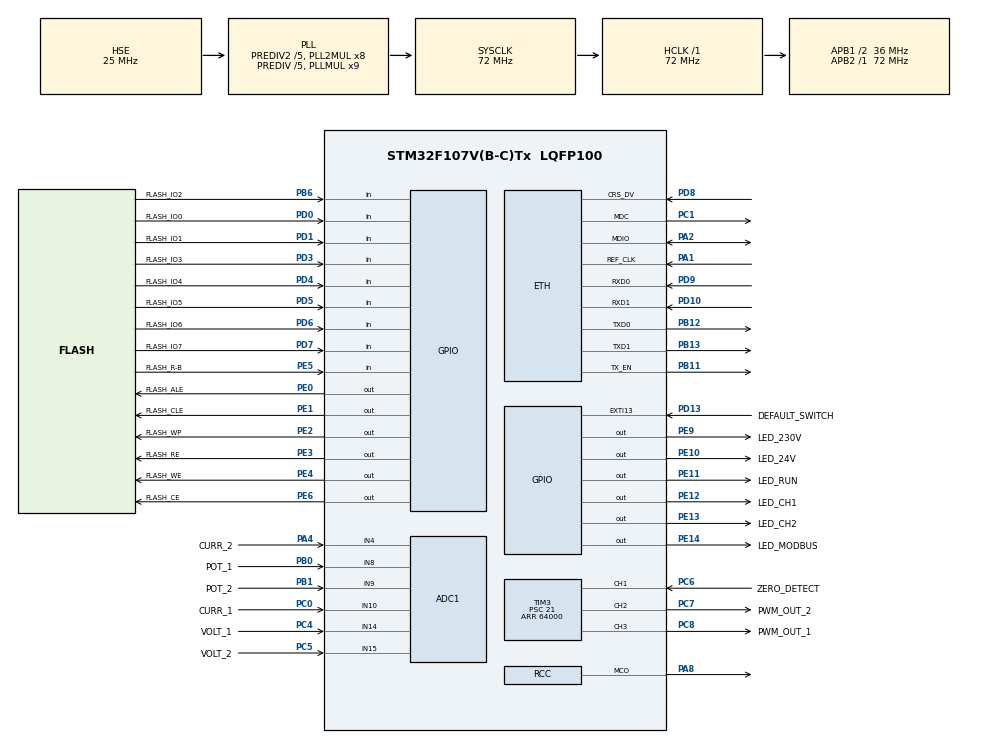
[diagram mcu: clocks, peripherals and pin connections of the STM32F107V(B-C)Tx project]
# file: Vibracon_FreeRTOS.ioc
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ADC1.Channel-0\#ChannelRegularConversion=ADC_CHANNEL_8
ADC1.Channel-1\#ChannelRegularConversion=ADC_CHANNEL_9
ADC1.Channel-2\#ChannelRegularConversion=ADC_CHANNEL_14
ADC1.Channel-3\#ChannelRegularConversion=ADC_CHANNEL_15
ADC1.Channel-4\#ChannelRegularConversion=ADC_CHANNEL_10
ADC1.Channel-5\#ChannelRegularConversion=ADC_CHANNEL_4
ADC1.Channel-6\#ChannelRegularConversion=ADC_CHANNEL_TEMPSENSOR
ADC1.ContinuousConvMode=ENABLE
ADC1.DataAlign=ADC_DATAALIGN_RIGHT
ADC1.DiscontinuousConvMode=DISABLE
ADC1.EnableAnalogWatchDog=false
ADC1.EnableRegularConversion=ENABLE
ADC1.ExternalTrigConvEdgeChoice=NONE
ADC1.InjNumberOfConversion=0
ADC1.NbrOfConversion=7
ADC1.NbrOfConversionFlag=1
ADC1.Rank-0\#ChannelRegularConversion=1
ADC1.Rank-1\#ChannelRegularConversion=2
ADC1.Rank-2\#ChannelRegularConversion=3
ADC1.Rank-3\#ChannelRegularConversion=4
ADC1.Rank-4\#ChannelRegularConversion=5
ADC1.Rank-5\#ChannelRegularConversion=6
ADC1.Rank-6\#ChannelRegularConversion=7
ADC1.SamplingTime-0\#ChannelRegularConversion=ADC_SAMPLETIME_239CYCLES_5
ADC1.SamplingTime-1\#ChannelRegularConversion=ADC_SAMPLETIME_239CYCLES_5
ADC1.SamplingTime-2\#ChannelRegularConversion=ADC_SAMPLETIME_239CYCLES_5
ADC1.SamplingTime-3\#ChannelRegularConversion=ADC_SAMPLETIME_239CYCLES_5
ADC1.SamplingTime-4\#ChannelRegularConversion=ADC_SAMPLETIME_239CYCLES_5
ADC1.SamplingTime-5\#ChannelRegularConversion=ADC_SAMPLETIME_239CYCLES_5
ADC1.SamplingTime-6\#ChannelRegularConversion=ADC_SAMPLETIME_239CYCLES_5
ADC1.ScanConvMode=ADC_SCAN_ENABLE
ADC1.master=1
Dma.ADC1.0.Direction=DMA_PERIPH_TO_MEMORY
Dma.ADC1.0.Instance=DMA1_Channel1
Dma.ADC1.0.MemDataAlignment=DMA_MDATAALIGN_HALFWORD
Dma.ADC1.0.MemInc=DMA_MINC_ENABLE
Dma.ADC1.0.Mode=DMA_CIRCULAR
Dma.ADC1.0.PeriphDataAlignment=DMA_PDATAALIGN_HALFWORD
Dma.ADC1.0.PeriphInc=DMA_PINC_DISABLE
Dma.ADC1.0.Priority=DMA_PRIORITY_MEDIUM
Dma.Request0=ADC1
ETH.MediaInterface=ETH_MEDIA_INTERFACE_RMII
FREERTOS.Tasks01=defaultTask,0,128,StartDefaultTask;PWMTask,-2,128,PWMTaskBody;LEDTask,-2,128,LEDTaskBody
FREERTOS.configCHECK_FOR_STACK_OVERFLOW=2
FREERTOS.configTOTAL_HEAP_SIZE=25088
LWIP.GATEWAY_ADDRESS=192.168.001.001
LWIP.IP_ADDRESS=192.168.001.030
LWIP.LWIP_DHCP=0
LWIP.MEMP_NUM_TCP_PCB=10
LWIP.MEMP_NUM_TCP_PCB_LISTEN=10
LWIP.MEM_SIZE=2000
LWIP.NETMASK_ADDRESS=255.255.255.000
LWIP.PBUF_POOL_BUFSIZE=592
LWIP.TCPIP_MBOX_SIZE=0
LWIP.TCPIP_THREAD_PRIO=1
LWIP.Version=v1.4.1_Cube
Mcu.Family=STM32F1
Mcu.Name=STM32F107V(B-C)Tx
Mcu.Package=LQFP100
NVIC.DMA1_Channel1_IRQn=true\:5\:0\:false\:false\:true\:true
NVIC.ETH_IRQn=true\:5\:0\:false\:false\:true\:true
NVIC.EXTI15_10_IRQn=true\:5\:0\:false\:false\:true\:true
NVIC.PriorityGroup=NVIC_PRIORITYGROUP_4
NVIC.TIM7_IRQn=true\:0\:0\:false\:false\:true\:false
NVIC.TimeBase=TIM7_IRQn
NVIC.TimeBaseIP=TIM7
OSC_IN.Mode=HSE-External-Oscillator
OSC_IN.Signal=RCC_OSC_IN
OSC_OUT.Mode=HSE-External-Oscillator
OSC_OUT.Signal=RCC_OSC_OUT
PA1.Mode=RMII
PA1.Signal=ETH_REF_CLK
PA13.Mode=JTAG_5_pins
PA13.Signal=SYS_JTMS-SWDIO
PA14.Mode=JTAG_5_pins
PA14.Signal=SYS_JTCK-SWCLK
PA15.Mode=JTAG_5_pins
PA15.Signal=SYS_JTDI
PA2.Mode=RMII
PA2.Signal=ETH_MDIO
PA4.GPIO_Label=CURR_2
PA4.Signal=ADCx_IN4
PA8.GPIO_Speed=GPIO_SPEED_HIGH
PA8.Mode=Clock-out
PA8.Signal=RCC_MCO
PB0.GPIO_Label=POT_1
PB0.Signal=ADCx_IN8
PB1.GPIO_Label=POT_2
PB1.Signal=ADCx_IN9
PB11.Mode=RMII
PB11.Signal=ETH_TX_EN
PB12.Mode=RMII
PB12.Signal=ETH_TXD0
PB13.Mode=RMII
PB13.Signal=ETH_TXD1
PB3.Mode=JTAG_5_pins
PB3.Signal=SYS_JTDO
PB4.Mode=JTAG_5_pins
PB4.Signal=SYS_NJTRST
PB6.GPIO_Label=FLASH_IO2
PB6.GPIO_PuPd=GPIO_PULLUP
PB6.Signal=GPIO_Input
PC0.GPIO_Label=CURR_1
PC0.Signal=ADCx_IN10
PC1.Mode=RMII
PC1.Signal=ETH_MDC
PC4.GPIO_Label=VOLT_1
PC4.Signal=ADCx_IN14
PC5.GPIO_Label=VOLT_2
PC5.Signal=ADCx_IN15
PC6.GPIO_Label=ZERO_DETECT
PC6.Signal=S_TIM3_CH1
PC7.GPIO_Label=PWM_OUT_2
PC7.GPIO_Speed=GPIO_SPEED_HIGH
PC7.Signal=S_TIM3_CH2
PC8.GPIO_Label=PWM_OUT_1
PC8.GPIO_Speed=GPIO_SPEED_HIGH
PC8.Signal=S_TIM3_CH3
PD0.GPIO_Label=FLASH_IO0
PD0.GPIO_PuPd=GPIO_PULLUP
PD0.Signal=GPIO_Input
PD1.GPIO_Label=FLASH_IO1
PD1.GPIO_PuPd=GPIO_PULLUP
PD1.Signal=GPIO_Input
PD10.Mode=RMII
PD10.Signal=ETH_RXD1
PD13.GPIO_Label=DEFAULT_SWITCH
PD13.GPIO_ModeDefaultEXTI=GPIO_MODE_IT_RISING_FALLING
PD13.Signal=GPXTI13
PD3.GPIO_Label=FLASH_IO3
PD3.GPIO_PuPd=GPIO_PULLUP
PD3.Signal=GPIO_Input
PD4.GPIO_Label=FLASH_IO4
PD4.GPIO_PuPd=GPIO_PULLUP
PD4.Signal=GPIO_Input
PD5.GPIO_Label=FLASH_IO5
PD5.GPIO_PuPd=GPIO_PULLUP
PD5.Signal=GPIO_Input
PD6.GPIO_Label=FLASH_IO6
PD6.GPIO_PuPd=GPIO_PULLUP
PD6.Signal=GPIO_Input
PD7.GPIO_Label=FLASH_IO7
PD7.GPIO_PuPd=GPIO_PULLUP
PD7.Signal=GPIO_Input
PD8.Mode=RMII
PD8.Signal=ETH_CRS_DV
PD9.Mode=RMII
PD9.Signal=ETH_RXD0
PE0.GPIO_Label=FLASH_ALE
PE0.Signal=GPIO_Output
PE1.GPIO_Label=FLASH_CLE
PE1.Signal=GPIO_Output
PE10.GPIO_Label=LED_24V
PE10.GPIO_ModeDefaultOutputPP=GPIO_MODE_OUTPUT_OD
PE10.GPIO_Speed=GPIO_SPEED_LOW
PE10.Signal=GPIO_Output
PE11.GPIO_Label=LED_RUN
PE11.GPIO_ModeDefaultOutputPP=GPIO_MODE_OUTPUT_OD
PE11.GPIO_Speed=GPIO_SPEED_LOW
PE11.Signal=GPIO_Output
PE12.GPIO_Label=LED_CH1
PE12.GPIO_ModeDefaultOutputPP=GPIO_MODE_OUTPUT_OD
PE12.GPIO_Speed=GPIO_SPEED_LOW
PE12.Signal=GPIO_Output
PE13.GPIO_Label=LED_CH2
PE13.GPIO_ModeDefaultOutputPP=GPIO_MODE_OUTPUT_OD
PE13.GPIO_Speed=GPIO_SPEED_LOW
PE13.Signal=GPIO_Output
PE14.GPIO_Label=LED_MODBUS
PE14.GPIO_ModeDefaultOutputPP=GPIO_MODE_OUTPUT_OD
PE14.GPIO_Speed=GPIO_SPEED_LOW
PE14.Signal=GPIO_Output
PE2.GPIO_Label=FLASH_WP
PE2.Signal=GPIO_Output
PE3.GPIO_Label=FLASH_RE
PE3.Signal=GPIO_Output
PE4.GPIO_Label=FLASH_WE
PE4.Signal=GPIO_Output
PE5.GPIO_Label=FLASH_R-B
PE5.GPIO_PuPd=GPIO_PULLUP
PE5.Signal=GPIO_Input
PE6.GPIO_Label=FLASH_CE
PE6.Signal=GPIO_Output
PE9.GPIO_Label=LED_230V
PE9.GPIO_ModeDefaultOutputPP=GPIO_MODE_OUTPUT_OD
PE9.GPIO_Speed=GPIO_SPEED_LOW
PE9.Signal=GPIO_Output
ProjectManager.HeapSize=0x200
ProjectManager.StackSize=0x600
ProjectManager.TargetToolchain=SW4STM32
RCC.ADCPresc=RCC_ADCPCLK2_DIV6
RCC.AHBFreq_Value=72000000
RCC.APB1CLKDivider=RCC_HCLK_DIV2
RCC.APB1Freq_Value=36000000
RCC.APB1TimFreq_Value=72000000
RCC.APB2Freq_Value=72000000
RCC.APB2TimFreq_Value=72000000
RCC.EnbaleCSS=true
RCC.HCLKFreq_Value=72000000
RCC.HSEDivPLL=RCC_HSE_PREDIV_DIV5
RCC.HSE_VALUE=25000000
RCC.HSIState=RCC_HSI_ON
RCC.PLL3Mul=RCC_PLLI2S_MUL10
RCC.PLLMUL=RCC_PLL_MUL9
RCC.PLLSourceVirtual=RCC_PLLSOURCE_HSE
RCC.Prediv1Source=RCC_PREDIV1_SOURCE_PLL2
RCC.Prediv2=RCC_HSE_PREDIV2_DIV5
RCC.RCC_MCOSource=RCC_MCO1SOURCE_PLL3CLK
RCC.SYSCLKFreq_VALUE=72000000
RCC.SYSCLKSource=RCC_SYSCLKSOURCE_PLLCLK
RCC.USBFreq_Value=48000000
RTC.Hours=12
RTC.Month=RTC_MONTH_JANUARY
RTC.WeekDay=RTC_WEEKDAY_MONDAY
RTC.Year=16
SH.ADCx_IN10.0=ADC1_IN10,IN10
SH.ADCx_IN14.0=ADC1_IN14,IN14
SH.ADCx_IN15.0=ADC1_IN15,IN15
SH.ADCx_IN4.0=ADC1_IN4,IN4
SH.ADCx_IN8.0=ADC1_IN8,IN8
SH.ADCx_IN9.0=ADC1_IN9,IN9
SH.S_TIM3_CH1.0=TIM3_CH1,TriggerSource_TI1FP1
SH.S_TIM3_CH2.0=TIM3_CH2,PWM Generation2 CH2
SH.S_TIM3_CH3.0=TIM3_CH3,PWM Generation3 CH3
TIM3.Channel-PWM\ Generation2\ CH2=TIM_CHANNEL_2
TIM3.Channel-PWM\ Generation3\ CH3=TIM_CHANNEL_3
TIM3.OCMode_PWM-PWM\ Generation2\ CH2=TIM_OCMODE_PWM2
TIM3.OCMode_PWM-PWM\ Generation3\ CH3=TIM_OCMODE_PWM2
TIM3.OCPolarity_2=TIM_OCPOLARITY_LOW
TIM3.OCPolarity_3=TIM_OCPOLARITY_LOW
TIM3.Period=64000
TIM3.Prescaler=21
TIM3.Pulse-PWM\ Generation2\ CH2=64001
TIM3.Pulse-PWM\ Generation3\ CH3=65001
TIM3.Slave_TriggerPolarity=TIM_TRIGGERPOLARITY_FALLING
VP_ADC1_TempSens_Input.Mode=IN-TempSens
VP_FREERTOS_VS_ENABLE.Mode=Enabled
VP_LWIP_VS_Enabled.Mode=Enabled
VP_RTC_No_RTC_Output.Mode=RTC_OUT_NO
VP_SYS_VS_tim7.Mode=TIM7
VP_TIM3_VS_ClockSourceINT.Mode=Internal
VP_TIM3_VS_ControllerModeTrigger.Mode=Trigger Mode
VP_TIM3_VS_OPM.Mode=OPM_bit
board=Vibracon_FreeRTOS

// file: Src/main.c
/**
  ******************************************************************************
  * File Name          : main.c
  * Description        : Main program body
  ******************************************************************************
  *
  * COPYRIGHT(c) 2016 STMicroelectronics
  *
  * Redistribution and use in source and binary forms, with or without modification,
  * are permitted provided that the following conditions are met:
  *   1. Redistributions of source code must retain the above copyright notice,
  *      this list of conditions and the following disclaimer.
  *   2. Redistributions in binary form must reproduce the above copyright notice,
  *      this list of conditions and the following disclaimer in the documentation
  *      and/or other materials provided with the distribution.
  *   3. Neither the name of STMicroelectronics nor the names of its contributors
  *      may be used to endorse or promote products derived from this software
  *      without specific prior written permission.
  *
  * THIS SOFTWARE IS PROVIDED BY THE COPYRIGHT HOLDERS AND CONTRIBUTORS "AS IS"
  * AND ANY EXPRESS OR IMPLIED WARRANTIES, INCLUDING, BUT NOT LIMITED TO, THE
  * IMPLIED WARRANTIES OF MERCHANTABILITY AND FITNESS FOR A PARTICULAR PURPOSE ARE
  * DISCLAIMED. IN NO EVENT SHALL THE COPYRIGHT HOLDER OR CONTRIBUTORS BE LIABLE
  * FOR ANY DIRECT, INDIRECT, INCIDENTAL, SPECIAL, EXEMPLARY, OR CONSEQUENTIAL
  * DAMAGES (INCLUDING, BUT NOT LIMITED TO, PROCUREMENT OF SUBSTITUTE GOODS OR
  * SERVICES; LOSS OF USE, DATA, OR PROFITS; OR BUSINESS INTERRUPTION) HOWEVER
  * CAUSED AND ON ANY THEORY OF LIABILITY, WHETHER IN CONTRACT, STRICT LIABILITY,
  * OR TORT (INCLUDING NEGLIGENCE OR OTHERWISE) ARISING IN ANY WAY OUT OF THE USE
  * OF THIS SOFTWARE, EVEN IF ADVISED OF THE POSSIBILITY OF SUCH DAMAGE.
  *
  ******************************************************************************
  */
#include <stdio.h>	/*rtt*/
#include <stdlib.h>	/*rtt*/
#include "stm32f1xx_hal.h"
#include "cmsis_os.h"
#include "lwip.h"

/* USER CODE BEGIN Includes */
#include "freemodbus.h"
#include "shell.h"

#include "ftp_server.h"
#include "http_server.h"
#include "cfs-coffee-arch.h"

/* USER CODE END Includes */

ADC_HandleTypeDef hadc1;
DMA_HandleTypeDef hdma_adc1;

RTC_HandleTypeDef hrtc;

TIM_HandleTypeDef htim3;

osThreadId defaultTaskHandle;
osThreadId PWMTaskHandle;
osThreadId LEDTaskHandle;

/* USER CODE BEGIN PV */
/* Private variables ---------------------------------------------------------*/
extern volatile unsigned short  usRegHoldingBuf[REG_HOLDING_NREGS];
extern volatile uint8_t modbus_conn_status;
struct _settings
{
	uint8_t ip[4];
	uint8_t netmask[4];
	uint8_t gateway[4];
	uint8_t macaddress[6];
	uint16_t modbusTCPport;
	uint8_t modbusaddress;
	uint8_t checksum;
}settings;
/* USER CODE END PV */

void SystemClock_Config(void);
static void MX_GPIO_Init(void);
static void MX_DMA_Init(void);
static void MX_ADC1_Init(void);
static void MX_TIM3_Init(void);
static void MX_RTC_Init(void);
void StartDefaultTask(void const * argument);
void PWMTaskBody(void const * argument);
void LEDTaskBody(void const * argument);

void HAL_TIM_MspPostInit(TIM_HandleTypeDef *htim);

/* USER CODE BEGIN PFP */
/* Private function prototypes -----------------------------------------------*/
extern void initialise_monitor_handles(void);	/*rtt*/
void WriteSettings(void);
void RestoreSettings(void);
/* USER CODE END PFP */

int main(void)
{

  /* USER CODE BEGIN 1 */
	//initialise_monitor_handles();	/*rtt*/
	//printf("System initialize. \n");	/*rtt Dodac -specs=rdimon.specs -lc -lrdimon */
  /* USER CODE END 1 */

  /* MCU Configuration----------------------------------------------------------*/

  /* Reset of all peripherals, Initializes the Flash interface and the Systick. */
  HAL_Init();

  /* Configure the system clock */
  SystemClock_Config();

  /* Initialize all configured peripherals */
  MX_GPIO_Init();
  MX_DMA_Init();
  MX_ADC1_Init();
  MX_TIM3_Init();
  MX_RTC_Init();

  /* USER CODE BEGIN 2 */
  HAL_ADCEx_Calibration_Start(&hadc1);
  HAL_ADC_Start_DMA(&hadc1, (uint32 *)(&usRegHoldingBuf[6]), 7);	//Start pomiarów ADC

  cfs_coffee_arch_init();
  //coffee_file_test();
  RestoreSettings();

  /* USER CODE END 2 */

  /* Create the thread(s) */
  /* definition and creation of defaultTask */
  osThreadDef(defaultTask, StartDefaultTask, osPriorityNormal, 0, 128);
  defaultTaskHandle = osThreadCreate(osThread(defaultTask), NULL);

  /* definition and creation of PWMTask */
  osThreadDef(PWMTask, PWMTaskBody, osPriorityLow, 0, 128);
  //PWMTaskHandle = osThreadCreate(osThread(PWMTask), NULL);

  /* definition and creation of LEDTask */
  osThreadDef(LEDTask, LEDTaskBody, osPriorityLow, 0, 128);
  //LEDTaskHandle = osThreadCreate(osThread(LEDTask), NULL);

  /* Start scheduler */
  osKernelStart();

  /* We should never get here as control is now taken by the scheduler */

  /* Infinite loop */
  while (1)
  {

  }

}

/** System Clock Configuration
*/
void SystemClock_Config(void)
{

  RCC_OscInitTypeDef RCC_OscInitStruct;
  RCC_ClkInitTypeDef RCC_ClkInitStruct;
  RCC_PeriphCLKInitTypeDef PeriphClkInit;

  RCC_OscInitStruct.OscillatorType = RCC_OSCILLATORTYPE_LSI|RCC_OSCILLATORTYPE_HSE;
  RCC_OscInitStruct.HSEState = RCC_HSE_ON;
  RCC_OscInitStruct.HSEPredivValue = RCC_HSE_PREDIV_DIV5;
  RCC_OscInitStruct.LSIState = RCC_LSI_ON;
  RCC_OscInitStruct.Prediv1Source = RCC_PREDIV1_SOURCE_PLL2;
  RCC_OscInitStruct.PLL.PLLState = RCC_PLL_ON;
  RCC_OscInitStruct.PLL.PLLSource = RCC_PLLSOURCE_HSE;
  RCC_OscInitStruct.PLL.PLLMUL = RCC_PLL_MUL9;
  RCC_OscInitStruct.PLL2.PLL2State = RCC_PLL2_ON;
  RCC_OscInitStruct.PLL2.PLL2MUL = RCC_PLL2_MUL8;
  RCC_OscInitStruct.PLL2.HSEPrediv2Value = RCC_HSE_PREDIV2_DIV5;
  HAL_RCC_OscConfig(&RCC_OscInitStruct);

  RCC_ClkInitStruct.ClockType = RCC_CLOCKTYPE_HCLK|RCC_CLOCKTYPE_SYSCLK
                              |RCC_CLOCKTYPE_PCLK1|RCC_CLOCKTYPE_PCLK2;
  RCC_ClkInitStruct.SYSCLKSource = RCC_SYSCLKSOURCE_PLLCLK;
  RCC_ClkInitStruct.AHBCLKDivider = RCC_SYSCLK_DIV1;
  RCC_ClkInitStruct.APB1CLKDivider = RCC_HCLK_DIV2;
  RCC_ClkInitStruct.APB2CLKDivider = RCC_HCLK_DIV1;
  HAL_RCC_ClockConfig(&RCC_ClkInitStruct, FLASH_LATENCY_2);

  PeriphClkInit.PeriphClockSelection = RCC_PERIPHCLK_RTC|RCC_PERIPHCLK_ADC;
  PeriphClkInit.RTCClockSelection = RCC_RTCCLKSOURCE_LSI;
  PeriphClkInit.AdcClockSelection = RCC_ADCPCLK2_DIV6;
  PeriphClkInit.PLLI2S.PLLI2SMUL = RCC_PLLI2S_MUL10;
  PeriphClkInit.PLLI2S.HSEPrediv2Value = RCC_HSE_PREDIV2_DIV5;
  HAL_RCCEx_PeriphCLKConfig(&PeriphClkInit);

  HAL_RCC_MCOConfig(RCC_MCO, RCC_MCO1SOURCE_PLL3CLK, RCC_MCODIV_1);

  HAL_RCC_EnableCSS();

  HAL_SYSTICK_Config(HAL_RCC_GetHCLKFreq()/1000);

  HAL_SYSTICK_CLKSourceConfig(SYSTICK_CLKSOURCE_HCLK);

  __HAL_RCC_HSE_PREDIV2_CONFIG(RCC_HSE_PREDIV2_DIV5);

  __HAL_RCC_PLLI2S_CONFIG(RCC_PLLI2S_MUL10);

  __HAL_RCC_PLLI2S_ENABLE();

  /* SysTick_IRQn interrupt configuration */
  HAL_NVIC_SetPriority(SysTick_IRQn, 0, 0);
}

/* ADC1 init function */
void MX_ADC1_Init(void)
{

  ADC_ChannelConfTypeDef sConfig;

    /**Common config
    */
  hadc1.Instance = ADC1;
  hadc1.Init.ScanConvMode = ADC_SCAN_ENABLE;
  hadc1.Init.ContinuousConvMode = ENABLE;
  hadc1.Init.DiscontinuousConvMode = DISABLE;
  hadc1.Init.ExternalTrigConv = ADC_SOFTWARE_START;
  hadc1.Init.DataAlign = ADC_DATAALIGN_RIGHT;
  hadc1.Init.NbrOfConversion = 7;
  HAL_ADC_Init(&hadc1);

    /**Configure Regular Channel
    */
  sConfig.Channel = ADC_CHANNEL_8;
  sConfig.Rank = 1;
  sConfig.SamplingTime = ADC_SAMPLETIME_239CYCLES_5;
  HAL_ADC_ConfigChannel(&hadc1, &sConfig);

    /**Configure Regular Channel
    */
  sConfig.Channel = ADC_CHANNEL_9;
  sConfig.Rank = 2;
  HAL_ADC_ConfigChannel(&hadc1, &sConfig);

    /**Configure Regular Channel
    */
  sConfig.Channel = ADC_CHANNEL_14;
  sConfig.Rank = 3;
  HAL_ADC_ConfigChannel(&hadc1, &sConfig);

    /**Configure Regular Channel
    */
  sConfig.Channel = ADC_CHANNEL_15;
  sConfig.Rank = 4;
  HAL_ADC_ConfigChannel(&hadc1, &sConfig);

    /**Configure Regular Channel
    */
  sConfig.Channel = ADC_CHANNEL_10;
  sConfig.Rank = 5;
  HAL_ADC_ConfigChannel(&hadc1, &sConfig);

    /**Configure Regular Channel
    */
  sConfig.Channel = ADC_CHANNEL_4;
  sConfig.Rank = 6;
  HAL_ADC_ConfigChannel(&hadc1, &sConfig);

    /**Configure Regular Channel
    */
  sConfig.Channel = ADC_CHANNEL_TEMPSENSOR;
  sConfig.Rank = 7;
  HAL_ADC_ConfigChannel(&hadc1, &sConfig);

}

/* RTC init function */
void MX_RTC_Init(void)
{

  RTC_TimeTypeDef sTime;
  RTC_DateTypeDef DateToUpdate;

    /**Initialize RTC and set the Time and Date
    */
  hrtc.Instance = RTC;
  hrtc.Init.AsynchPrediv = RTC_AUTO_1_SECOND;
  hrtc.Init.OutPut = RTC_OUTPUTSOURCE_NONE;
  HAL_RTC_Init(&hrtc);

  sTime.Hours = 0x12;
  sTime.Minutes = 0x0;
  sTime.Seconds = 0x0;

  HAL_RTC_SetTime(&hrtc, &sTime, RTC_FORMAT_BCD);

  DateToUpdate.WeekDay = RTC_WEEKDAY_MONDAY;
  DateToUpdate.Month = RTC_MONTH_JANUARY;
  DateToUpdate.Date = 0x1;
  DateToUpdate.Year = 0x16;

  HAL_RTC_SetDate(&hrtc, &DateToUpdate, RTC_FORMAT_BCD);

}

/* TIM3 init function */
void MX_TIM3_Init(void)
{

  TIM_ClockConfigTypeDef sClockSourceConfig;
  TIM_SlaveConfigTypeDef sSlaveConfig;
  TIM_MasterConfigTypeDef sMasterConfig;
  TIM_OC_InitTypeDef sConfigOC;

  htim3.Instance = TIM3;
  htim3.Init.Prescaler = 21;
  htim3.Init.CounterMode = TIM_COUNTERMODE_UP;
  htim3.Init.Period = 64000;
  htim3.Init.ClockDivision = TIM_CLOCKDIVISION_DIV1;
  HAL_TIM_Base_Init(&htim3);

  sClockSourceConfig.ClockSource = TIM_CLOCKSOURCE_INTERNAL;
  HAL_TIM_ConfigClockSource(&htim3, &sClockSourceConfig);

  HAL_TIM_PWM_Init(&htim3);

  HAL_TIM_OnePulse_Init(&htim3, TIM_OPMODE_SINGLE);

  sSlaveConfig.SlaveMode = TIM_SLAVEMODE_TRIGGER;
  sSlaveConfig.InputTrigger = TIM_TS_TI1FP1;
  sSlaveConfig.TriggerPolarity = TIM_TRIGGERPOLARITY_FALLING;
  sSlaveConfig.TriggerFilter = 0;
  HAL_TIM_SlaveConfigSynchronization(&htim3, &sSlaveConfig);

  sMasterConfig.MasterOutputTrigger = TIM_TRGO_RESET;
  sMasterConfig.MasterSlaveMode = TIM_MASTERSLAVEMODE_DISABLE;
  HAL_TIMEx_MasterConfigSynchronization(&htim3, &sMasterConfig);

  sConfigOC.OCMode = TIM_OCMODE_PWM2;
  sConfigOC.Pulse = 64001;
  sConfigOC.OCPolarity = TIM_OCPOLARITY_LOW;
  sConfigOC.OCFastMode = TIM_OCFAST_DISABLE;
  HAL_TIM_PWM_ConfigChannel(&htim3, &sConfigOC, TIM_CHANNEL_2);

  HAL_TIM_PWM_ConfigChannel(&htim3, &sConfigOC, TIM_CHANNEL_3);

  HAL_TIM_MspPostInit(&htim3);

}

void MX_DMA_Init(void)
{
  /* DMA controller clock enable */
  __HAL_RCC_DMA1_CLK_ENABLE();

  /* DMA interrupt init */
  /* DMA1_Channel1_IRQn interrupt configuration */
  HAL_NVIC_SetPriority(DMA1_Channel1_IRQn, 5, 0);
  HAL_NVIC_EnableIRQ(DMA1_Channel1_IRQn);

}

/** Configure pins as
        * Analog
        * Input
        * Output
        * EVENT_OUT
        * EXTI
     PA8   ------> RCC_MCO
*/
void MX_GPIO_Init(void)
{

  GPIO_InitTypeDef GPIO_InitStruct;

  /* GPIO Ports Clock Enable */
  __HAL_RCC_GPIOE_CLK_ENABLE();
  __HAL_RCC_GPIOC_CLK_ENABLE();
  __HAL_RCC_GPIOA_CLK_ENABLE();
  __HAL_RCC_GPIOB_CLK_ENABLE();
  __HAL_RCC_GPIOD_CLK_ENABLE();

  /*Configure GPIO pin Output Level */
  HAL_GPIO_WritePin(GPIOE, FLASH_WP_Pin|FLASH_RE_Pin|FLASH_WE_Pin|FLASH_CE_Pin
                          |LED_230V_Pin|LED_24V_Pin|LED_RUN_Pin|LED_CH1_Pin
                          |LED_CH2_Pin|LED_MODBUS_Pin|FLASH_ALE_Pin|FLASH_CLE_Pin, GPIO_PIN_RESET);

  /*Configure GPIO pins : FLASH_WP_Pin FLASH_RE_Pin FLASH_WE_Pin FLASH_CE_Pin
                           FLASH_ALE_Pin FLASH_CLE_Pin */
  GPIO_InitStruct.Pin = FLASH_WP_Pin|FLASH_RE_Pin|FLASH_WE_Pin|FLASH_CE_Pin
                          |FLASH_ALE_Pin|FLASH_CLE_Pin;
  GPIO_InitStruct.Mode = GPIO_MODE_OUTPUT_PP;
  GPIO_InitStruct.Speed = GPIO_SPEED_FREQ_LOW;
  HAL_GPIO_Init(GPIOE, &GPIO_InitStruct);

  /*Configure GPIO pin : FLASH_R_B_Pin */
  GPIO_InitStruct.Pin = FLASH_R_B_Pin;
  GPIO_InitStruct.Mode = GPIO_MODE_INPUT;
  GPIO_InitStruct.Pull = GPIO_PULLUP;
  HAL_GPIO_Init(FLASH_R_B_GPIO_Port, &GPIO_InitStruct);

  /*Configure GPIO pins : LED_230V_Pin LED_24V_Pin LED_RUN_Pin LED_CH1_Pin
                           LED_CH2_Pin LED_MODBUS_Pin */
  GPIO_InitStruct.Pin = LED_230V_Pin|LED_24V_Pin|LED_RUN_Pin|LED_CH1_Pin
                          |LED_CH2_Pin|LED_MODBUS_Pin;
  GPIO_InitStruct.Mode = GPIO_MODE_OUTPUT_OD;
  GPIO_InitStruct.Speed = GPIO_SPEED_LOW;
  HAL_GPIO_Init(GPIOE, &GPIO_InitStruct);

  /*Configure GPIO pin : DEFAULT_SWITCH_Pin */
  GPIO_InitStruct.Pin = DEFAULT_SWITCH_Pin;
  GPIO_InitStruct.Mode = GPIO_MODE_IT_RISING_FALLING;
  GPIO_InitStruct.Pull = GPIO_NOPULL;
  HAL_GPIO_Init(DEFAULT_SWITCH_GPIO_Port, &GPIO_InitStruct);

  /*Configure GPIO pin : PA8 */
  GPIO_InitStruct.Pin = GPIO_PIN_8;
  GPIO_InitStruct.Mode = GPIO_MODE_AF_PP;
  GPIO_InitStruct.Speed = GPIO_SPEED_HIGH;
  HAL_GPIO_Init(GPIOA, &GPIO_InitStruct);

  /*Configure GPIO pins : FLASH_IO0_Pin FLASH_IO1_Pin FLASH_IO3_Pin FLASH_IO4_Pin
                           FLASH_IO5_Pin FLASH_IO6_Pin FLASH_IO7_Pin */
  GPIO_InitStruct.Pin = FLASH_IO0_Pin|FLASH_IO1_Pin|FLASH_IO3_Pin|FLASH_IO4_Pin
                          |FLASH_IO5_Pin|FLASH_IO6_Pin|FLASH_IO7_Pin;
  GPIO_InitStruct.Mode = GPIO_MODE_INPUT;
  GPIO_InitStruct.Pull = GPIO_PULLUP;
  HAL_GPIO_Init(GPIOD, &GPIO_InitStruct);

  /*Configure GPIO pin : FLASH_IO2_Pin */
  GPIO_InitStruct.Pin = FLASH_IO2_Pin;
  GPIO_InitStruct.Mode = GPIO_MODE_INPUT;
  GPIO_InitStruct.Pull = GPIO_PULLUP;
  HAL_GPIO_Init(FLASH_IO2_GPIO_Port, &GPIO_InitStruct);

  /* EXTI interrupt init*/
  HAL_NVIC_SetPriority(EXTI15_10_IRQn, 5, 0);
  HAL_NVIC_EnableIRQ(EXTI15_10_IRQn);

}

/* USER CODE BEGIN 4 */
void WriteSettings(void)
{
	uint8_t *pointer = &settings.ip[0];
	uint32_t *pointer2 = &settings.ip[0];
	uint8_t i;
	settings.checksum = 0;
	for (i=0; i<(sizeof(settings)-1);i++)
	{
		settings.checksum += *pointer;
		pointer++;
	}
	pointer = settings.ip;
	HAL_FLASH_Unlock();
	//FLASH_ClearFlag(FLASH_FLAG_EOP|FLASH_FLAG_PGERR|FLASH_FLAG_WRPERR);
	FLASH_PageErase(0x0803F800);
	FLASH->CR &= !(FLASH_CR_PER);
	for (i=0; i<(sizeof(settings)/4); i++)
	{
		HAL_FLASH_Program(FLASH_TYPEPROGRAM_WORD, 0x0803F800+i*4, *pointer2 );
		pointer2++;
	}
	HAL_FLASH_Program(FLASH_TYPEPROGRAM_WORD, 0x0803F800+i*4, *pointer2 );
	HAL_FLASH_Lock();
}

void RestoreDefaultSettings(void)
{
	uint8_t i;
	unsigned long uid[3];
	uid[0] = *((unsigned long *)0x1FFFF7E8);
	//uid[1] = *((unsigned long *)0x1FFFF7EC);
	//uid[2] = *((unsigned long *)0x1FFFF7F0);

	settings.ip[0] = 192;
	settings.ip[1] = 168;
	settings.ip[2] = 1;
	settings.ip[3] = 30;
	settings.netmask[0] = 255;
	settings.netmask[1] = 255;
	settings.netmask[2] = 255;
	settings.netmask[3] = 0;
	settings.gateway[0] = 192;
	settings.gateway[1] = 168;
	settings.gateway[2] = 1;
	settings.gateway[3] = 1;
	settings.macaddress[5] = (uint8_t)uid[0];
	settings.macaddress[4] = (uint8_t)(uid[0]>>8);
	settings.macaddress[3] = (uint8_t)(uid[0]>>16);
	settings.macaddress[2] = (uint8_t)(uid[0]>>24);
	settings.macaddress[1] = 0x80; //(uint8_t)(uid[1]);
	settings.macaddress[0] = 0x00; //(uint8_t)(uid[1]>>8);
	settings.modbusTCPport = 502;
	settings.modbusaddress = 0;
	settings.checksum = 0;
	WriteSettings();
}

void RestoreSettings(void)
{
	uint8_t i, check=0;
	uint8_t *pointer = &settings.ip[0];

	memcpy(settings.ip, 0x0803F800, sizeof(settings));
	for (i=0; i<(sizeof(settings)-1);i++)
	{
		check += *pointer;
		pointer++;
	}
	if (check != settings.checksum)	RestoreDefaultSettings();	//Wrong checksum back to default settings
}
/* USER CODE END 4 */

/* StartDefaultTask function */
void StartDefaultTask(void const * argument)
{
  /* init code for LWIP */
  MX_LWIP_Init();

  /* USER CODE BEGIN 5 */
  sys_thread_new( "FreeModbus", vMBServerTask, NULL, DEFAULT_THREAD_STACKSIZE, 5/*mainMB_TASK_PRIORITY*/ );
  //http_server_netconn_init();
  //shell_init();
  //FTP_Server_init();
  HTTP_Server_init();

  /* Infinite loop */
  for(;;)
  {
    osDelay(1);
  }
  /* USER CODE END 5 */
}

/* PWMTaskBody function */
void PWMTaskBody(void const * argument)
{
  /* USER CODE BEGIN PWMTaskBody */

	htim3.Instance->CCER |= TIM_CCER_CC3E;
	HAL_TIM_OnePulse_Start(&htim3, TIM_CHANNEL_2 );	//Za³¹czenie wyjsc wibracona

  /* Infinite loop */
  for(;;)
  {
	switch (usRegHoldingBuf[0]) //Kanal 1
	{
		case 0x00:	//Wyjscie wylaczone
			htim3.Instance->CCR2 = 64001;
		break;
		case 0x01:	//Wyjscie sterowane Modbus
			if (usRegHoldingBuf[1] == 0) // Praca na dwóch po³ówkach sinusoidy
			{
				if (usRegHoldingBuf[2] > 64001) usRegHoldingBuf[2] = 64001;
				htim3.Instance->CCR2 = 64001 - usRegHoldingBuf[2];
			}
			else 	// Praca jednopolowkowo
			{
				if (usRegHoldingBuf[2] > 64001) usRegHoldingBuf[2] = 64001;
				htim3.Instance->CCR2 = 64001 - usRegHoldingBuf[2]/2;
			}
		break;
		case 0x04:	//Wyjscie sterowane potencjometrem
			htim3.Instance->CCR2 = 64001 - (usRegHoldingBuf[6]*16-1600);
		break;
		case 0x05:	//Wyjscie sterowane wejœciem napiêciowym
			htim3.Instance->CCR2 = 64001 - (usRegHoldingBuf[8]*16-1600);
		break;
		case 0x06:	//Wyjscie sterowane wejœciem pradowym
			htim3.Instance->CCR2 = 64001 - (usRegHoldingBuf[10]*16-1600);
		break;
		default:
			htim3.Instance->CCR2 = 64001;
		break;

	}

	switch (usRegHoldingBuf[3]) //Kanal 2
	{
		case 0x00:	//Wyjscie wylaczone
			htim3.Instance->CCR3 = 64001;
		break;
		case 0x01:	//Wyjscie sterowane Modbus
			if (usRegHoldingBuf[4] == 0) // Praca na dwóch po³ówkach sinusoidy
			{
				if (usRegHoldingBuf[5] > 64001) usRegHoldingBuf[5] = 64001;
				htim3.Instance->CCR3 = 64001 - usRegHoldingBuf[5];
			}
			else 	// Praca jednopolowkowo
			{
				if (usRegHoldingBuf[2] > 64001) usRegHoldingBuf[5] = 64001;
				htim3.Instance->CCR3 = 64001 - usRegHoldingBuf[5]/2;
			}
		break;
		case 0x04:	//Wyjscie sterowane potencjometrem
			htim3.Instance->CCR3 = 64001 - (usRegHoldingBuf[7]*16-1600);
		break;
		case 0x05:	//Wyjscie sterowane wejœciem napiêciowym
			htim3.Instance->CCR3 = 64001 - (usRegHoldingBuf[9]*16-1600);
		break;
		case 0x06:	//Wyjscie sterowane wejœciem pradowym
			htim3.Instance->CCR2 = 64001 - (usRegHoldingBuf[11]*16-1600);
		break;
		default:
			htim3.Instance->CCR3 = 64001;
		break;

	}

    osDelay(1);
  }
  /* USER CODE END PWMTaskBody */
}

/* LEDTaskBody function */
void LEDTaskBody(void const * argument)
{
  /* USER CODE BEGIN LEDTaskBody */
	HAL_GPIO_WritePin(LED_230V_GPIO_Port, LED_230V_Pin, GPIO_PIN_SET);
	HAL_GPIO_WritePin(LED_24V_GPIO_Port, LED_24V_Pin, GPIO_PIN_RESET);
	HAL_GPIO_WritePin(LED_RUN_GPIO_Port, LED_RUN_Pin, GPIO_PIN_SET);
	HAL_GPIO_WritePin(LED_CH1_GPIO_Port, LED_CH1_Pin, GPIO_PIN_SET);
	HAL_GPIO_WritePin(LED_CH2_GPIO_Port, LED_CH2_Pin, GPIO_PIN_SET);
	HAL_GPIO_WritePin(LED_MODBUS_GPIO_Port, LED_MODBUS_Pin, GPIO_PIN_SET);

  /* Infinite loop */
  for(;;)
  {
	  usRegHoldingBuf[13] = (float)(((1.43-(usRegHoldingBuf[12]*3.3/4096))/4.3)+25);
	  if ((htim3.Instance->SR & TIM_SR_CC1IF) != 0)		// Dioda 230VAC
	  {
		  htim3.Instance->SR &= !TIM_SR_CC1IF;
		  HAL_GPIO_WritePin(LED_230V_GPIO_Port, LED_230V_Pin, GPIO_PIN_RESET);
	  }
	  else
		  HAL_GPIO_WritePin(LED_230V_GPIO_Port, LED_230V_Pin, GPIO_PIN_SET);

	  if((usRegHoldingBuf[0] != 0) || (usRegHoldingBuf[3] != 0))	//Dioda RUN
		  HAL_GPIO_TogglePin(LED_RUN_GPIO_Port, LED_RUN_Pin);
	  else
		  HAL_GPIO_WritePin(LED_RUN_GPIO_Port, LED_RUN_Pin, GPIO_PIN_SET);
	  if(usRegHoldingBuf[0] != 0)									// Dioda CH1
		  HAL_GPIO_TogglePin(LED_CH1_GPIO_Port, LED_CH1_Pin);
	  else
		  HAL_GPIO_WritePin(LED_CH1_GPIO_Port, LED_CH1_Pin, GPIO_PIN_SET);
	  if(usRegHoldingBuf[3] != 0)									// Dioda CH2
		  HAL_GPIO_TogglePin(LED_CH2_GPIO_Port, LED_CH2_Pin);
	  else
		  HAL_GPIO_WritePin(LED_CH2_GPIO_Port, LED_CH2_Pin, GPIO_PIN_SET);

	  if (modbus_conn_status != 0)									// Dioda Modbus
		  HAL_GPIO_WritePin(LED_MODBUS_GPIO_Port, LED_MODBUS_Pin, GPIO_PIN_RESET);
	  else
		  HAL_GPIO_WritePin(LED_MODBUS_GPIO_Port, LED_MODBUS_Pin, GPIO_PIN_SET);

	  if (HAL_GPIO_ReadPin(DEFAULT_SWITCH_GPIO_Port, DEFAULT_SWITCH_Pin) == 0)
	  {
		  HAL_GPIO_WritePin(LED_24V_GPIO_Port, LED_24V_Pin, GPIO_PIN_SET);
		  osDelay(3000);
		  HAL_GPIO_WritePin(LED_24V_GPIO_Port, LED_24V_Pin, GPIO_PIN_RESET);
		  if (HAL_GPIO_ReadPin(DEFAULT_SWITCH_GPIO_Port, DEFAULT_SWITCH_Pin) == 0)
		  {
			  //powrót do ustawien default
			  NVIC_SystemReset();
		  }
	  }
	  osDelay(500);
  }
  /* USER CODE END LEDTaskBody */
}

/************************ (C) COPYRIGHT STMicroelectronics *****END OF FILE****/

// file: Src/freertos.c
/**
  ******************************************************************************
  * File Name          : freertos.c
  * Description        : Code for freertos applications
  ******************************************************************************
  *
  * COPYRIGHT(c) 2016 STMicroelectronics
  *
  * Redistribution and use in source and binary forms, with or without modification,
  * are permitted provided that the following conditions are met:
  *   1. Redistributions of source code must retain the above copyright notice,
  *      this list of conditions and the following disclaimer.
  *   2. Redistributions in binary form must reproduce the above copyright notice,
  *      this list of conditions and the following disclaimer in the documentation
  *      and/or other materials provided with the distribution.
  *   3. Neither the name of STMicroelectronics nor the names of its contributors
  *      may be used to endorse or promote products derived from this software
  *      without specific prior written permission.
  *
  * THIS SOFTWARE IS PROVIDED BY THE COPYRIGHT HOLDERS AND CONTRIBUTORS "AS IS"
  * AND ANY EXPRESS OR IMPLIED WARRANTIES, INCLUDING, BUT NOT LIMITED TO, THE
  * IMPLIED WARRANTIES OF MERCHANTABILITY AND FITNESS FOR A PARTICULAR PURPOSE ARE
  * DISCLAIMED. IN NO EVENT SHALL THE COPYRIGHT HOLDER OR CONTRIBUTORS BE LIABLE
  * FOR ANY DIRECT, INDIRECT, INCIDENTAL, SPECIAL, EXEMPLARY, OR CONSEQUENTIAL
  * DAMAGES (INCLUDING, BUT NOT LIMITED TO, PROCUREMENT OF SUBSTITUTE GOODS OR
  * SERVICES; LOSS OF USE, DATA, OR PROFITS; OR BUSINESS INTERRUPTION) HOWEVER
  * CAUSED AND ON ANY THEORY OF LIABILITY, WHETHER IN CONTRACT, STRICT LIABILITY,
  * OR TORT (INCLUDING NEGLIGENCE OR OTHERWISE) ARISING IN ANY WAY OUT OF THE USE
  * OF THIS SOFTWARE, EVEN IF ADVISED OF THE POSSIBILITY OF SUCH DAMAGE.
  *
  ******************************************************************************
  */

#include "FreeRTOS.h"
#include "task.h"

/* Hook prototypes */
void vApplicationStackOverflowHook(xTaskHandle xTask, signed char *pcTaskName);

/* USER CODE BEGIN 4 */
void vApplicationStackOverflowHook(xTaskHandle xTask, signed char *pcTaskName)
{
   /* Run time stack overflow checking is performed if
   configCHECK_FOR_STACK_OVERFLOW is defined to 1 or 2. This hook function is
   called if a stack overflow is detected. */
	osDelay(500);
}
/* USER CODE END 4 */

/************************ (C) COPYRIGHT STMicroelectronics *****END OF FILE****/
